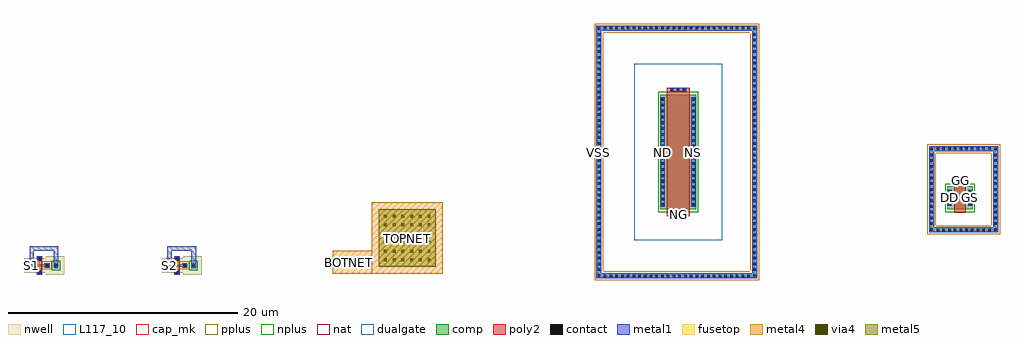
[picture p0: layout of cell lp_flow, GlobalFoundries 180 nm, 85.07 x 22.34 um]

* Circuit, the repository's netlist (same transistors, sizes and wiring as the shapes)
* NGSPICE file created from lp_flow.ext - technology: gf180mcuD

.subckt cap_mim m4_n120_n120# m4_0_0#
X0 m4_0_0# m4_n120_n120# cap_mim_2f0_m4m5_noshield c_width=5u c_length=5u
.ends

.subckt nfet_06v0_nvt__2 a_22_n122# a_422_0# a_n92_0# VSUBS
X0 a_422_0# a_22_n122# a_n92_0# VSUBS nfet_06v0_nvt ad=5.7p pd=21.14u as=5.7p ps=21.14u w=10u l=2u
.ends

.subckt nfet__3 a_238_0# a_38_n60# a_n84_0# VSUBS
X0 a_238_0# a_38_n60# a_n84_0# VSUBS nfet_03v3 ad=1.22p pd=5.22u as=1.22p ps=5.22u w=2u l=1u
.ends

.subckt pfet__0 w_n180_n104# a_n92_n16# a_138_0# a_38_n136#
X0 a_138_0# a_38_n136# a_n92_n16# w_n180_n104# pfet_03v3 ad=0.2166p pd=2.06u as=0.2166p ps=2.06u w=0.22u l=0.5u
.ends

.subckt lp_flow S1 D1 G1 S2 D2 G2 ND NS NG VSS DD GS GG BOTNET TOPNET
Xcap_mim_0 BOTNET TOPNET cap_mim
Xnfet_06v0_nvt__2_0 NG NS ND VSS nfet_06v0_nvt__2
Xnfet__3_0 GS GG DD VSS nfet__3
Xpfet__0_0 S2 S2 D2 G2 pfet__0
Xpfet__0_1 S1 S1 D1 G1 pfet__0
.ends

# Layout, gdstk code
import gdstk
lib = gdstk.Library(unit=1e-6, precision=1e-09)
def R(c, l, rs):  # rectangles x0, y0, x1, y1
    for r in rs: c.add(gdstk.rectangle(r[:2], r[2:], *l))
def A(c, l, x, y, w, h, nx, ny, dx, dy):  # array of equal rectangles
    R(c, l, [(x+i*dx, y+j*dy, x+i*dx+w, y+j*dy+h) for i in range(nx) for j in range(ny)])
nat = (5, 0)
nwell = (21, 0)
comp = (22, 0)
poly2 = (30, 0)
pplus = (31, 0)
nplus = (32, 0)
contact = (33, 0)
metal1 = (34, 0)
via4 = (41, 0)
metal4 = (46, 0)
dualgate = (55, 0)
fusetop = (75, 0)
metal5 = (81, 0)
cap_mk = (117, 5)
L117_10 = (117, 10)

pfet__0 = lib.new_cell('pfet__0')
R(pfet__0, nwell, [(-0.9,-0.52,1.78,0.74)])
R(pfet__0, comp, [(-0.46,-0.08,0,0.3), (0.88,-0.08,1.34,0.3), (0,0,0.88,0.22)])
R(pfet__0, poly2, [(0.19,-0.68,0.69,-0.3), (0.19,-0.3,0.69,0.52), (0.19,0.52,0.69,0.9)])
R(pfet__0, pplus, [(-0.63,-0.24,1.51,0.46)])
R(pfet__0, contact, [(0.33,-0.6,0.55,-0.38), (-0.34,0,-0.12,0.22), (1,0,1.22,0.22), (0.33,0.6,0.55,0.82)])
R(pfet__0, metal1, [(0.25,-0.685,0.63,-0.295), (-0.42,-0.085,-0.04,0.305), (0.92,-0.085,1.3,0.305), (0.25,0.515,0.63,0.905)])

cap_mim = lib.new_cell('cap_mim')
A(cap_mim, via4, 0.47, 0.47, 0.26, 0.26, 6, 6, 0.76, 0.76)
R(cap_mim, metal4, [(-0.6,-0.6,5.6,5.6)])
R(cap_mim, fusetop, [(0,0,5,5)])
R(cap_mim, metal5, [(0,0,5,5)])
R(cap_mim, cap_mk, [(-0.6,-0.6,5.6,5.6)])
R(cap_mim, L117_10, [(0,0,5,0.1)])

nfet_06v0_nvt__2 = lib.new_cell('nfet_06v0_nvt__2')
R(nfet_06v0_nvt__2, nat, [(-2.73,-2.71,4.95,12.71)])
R(nfet_06v0_nvt__2, comp, [(-0.46,0,0,10), (0,0,2.22,10), (2.22,0,2.68,10)])
R(nfet_06v0_nvt__2, poly2, [(0.11,-0.61,2.11,-0.23), (0.11,-0.23,2.11,10.23), (0.11,10.23,2.11,10.61)])
R(nfet_06v0_nvt__2, nplus, [(-0.63,-0.24,2.85,10.24)])
A(nfet_06v0_nvt__2, contact, 0.49, -0.53, 0.22, 0.22, 3, 2, 0.51, 10.84)
A(nfet_06v0_nvt__2, contact, -0.34, 0.3, 0.22, 0.22, 1, 19, 0, 0.51)
A(nfet_06v0_nvt__2, contact, 2.34, 0.3, 0.22, 0.22, 1, 19, 0, 0.51)
R(nfet_06v0_nvt__2, metal1, [(0.41,-0.61,1.81,-0.23), (-0.42,0.22,-0.04,9.78), (2.26,0.22,2.64,9.78), (0.41,10.23,1.81,10.61)])
R(nfet_06v0_nvt__2, dualgate, [(-2.73,-2.71,4.95,12.71)])

nfet__3 = lib.new_cell('nfet__3')
R(nfet__3, comp, [(-0.42,0,0,2), (0,0,1.38,2), (1.38,0,1.8,2)])
R(nfet__3, poly2, [(0.19,-0.3,1.19,2.3), (0.19,2.3,1.19,2.66)])
R(nfet__3, nplus, [(-0.59,-0.24,1.97,2.24)])
A(nfet__3, contact, -0.32, 0.38, 0.22, 0.22, 1, 3, 0, 0.51)
A(nfet__3, contact, 1.48, 0.38, 0.22, 0.22, 1, 3, 0, 0.51)
R(nfet__3, contact, [(0.58,2.37,0.8,2.59)])
R(nfet__3, metal1, [(-0.4,0.3,-0.02,1.7), (1.4,0.3,1.78,1.7), (0.5,2.285,0.88,2.675)])

lp_flow = lib.new_cell('lp_flow')
R(lp_flow, nwell, [(1,-0.685,2.6,0.905), (13,-0.685,14.6,0.905)])
R(lp_flow, comp, [(49,-1,49.42,21), (49.42,-1,62.58,-0.58), (62.58,-1,63,21), (1.68,-0.14,2.1,0.36), (13.68,-0.14,14.1,0.36), (78,3,78.42,10.5), (78.42,3,83.58,3.42), (83.58,3,84,10.5), (78.42,10.08,83.58,10.5), (49.42,20.58,62.58,21)])
R(lp_flow, pplus, [(48.83,-1.17,63.17,-0.41), (48.83,-1.17,49.59,21.17), (62.41,-1.17,63.17,21.17), (77.83,2.83,84.17,3.59), (77.83,2.83,78.59,10.67), (83.41,2.83,84.17,10.67), (77.83,9.91,84.17,10.67), (48.83,20.41,63.17,21.17)])
R(lp_flow, nplus, [(1.52,-0.3,2.26,0.52), (13.52,-0.3,14.26,0.52)])
A(lp_flow, contact, 49.64, -0.9, 0.22, 0.22, 26, 2, 0.5, 21.58)
A(lp_flow, contact, 49.1, -0.86, 0.22, 0.22, 1, 44, 0, 0.5)
A(lp_flow, contact, 62.68, -0.86, 0.22, 0.22, 1, 44, 0, 0.5)
A(lp_flow, contact, 78.64, 3.1, 0.22, 0.22, 10, 2, 0.5, 7.08)
A(lp_flow, contact, 78.1, 3.14, 0.22, 0.22, 1, 15, 0, 0.5)
A(lp_flow, contact, 83.68, 3.14, 0.22, 0.22, 1, 15, 0, 0.5)
R(lp_flow, contact, [(1.78,0,2,0.22), (13.78,0,14,0.22)])
R(lp_flow, metal1, [(49,-1,49.42,21), (49.42,-1,62.58,-0.58), (62.58,-1,63,21), (1.68,-0.14,2.1,0.36), (1.68,-0.14,2.1,1.8), (13.68,-0.14,14.1,0.36), (13.68,-0.14,14.1,1.8), (-0.42,-0.085,-0.04,1.8), (11.58,-0.085,11.96,1.8), (-0.42,1.4,2.1,1.8), (11.58,1.4,14.1,1.8), (78,3,78.42,10.5), (78.42,3,83.58,3.42), (83.58,3,84,10.5), (78.42,10.08,83.58,10.5), (49.42,20.58,62.58,21)])
R(lp_flow, metal4, [(26,-0.6,29.4,1.4)])
lp_flow.add(gdstk.Reference(pfet__0, (0,0)))
lp_flow.add(gdstk.Reference(pfet__0, (12,0)))
lp_flow.add(gdstk.Reference(cap_mim, (30,0)))
lp_flow.add(gdstk.Reference(nfet_06v0_nvt__2, (55,5)))
lp_flow.add(gdstk.Reference(nfet__3, (80,5)))
lp_flow.add(gdstk.Label('S1', (-0.23,0.11), layer=34, texttype=10))
lp_flow.add(gdstk.Label('D1', (1.11,0.11), layer=34, texttype=10))
lp_flow.add(gdstk.Label('G1', (0.44,-0.49), layer=34, texttype=10))
lp_flow.add(gdstk.Label('S2', (11.77,0.11), layer=34, texttype=10))
lp_flow.add(gdstk.Label('D2', (13.11,0.11), layer=34, texttype=10))
lp_flow.add(gdstk.Label('G2', (12.44,-0.49), layer=34, texttype=10))
lp_flow.add(gdstk.Label('ND', (54.77,10), layer=34, texttype=10))
lp_flow.add(gdstk.Label('NS', (57.45,10), layer=34, texttype=10))
lp_flow.add(gdstk.Label('NG', (56.11,4.58), layer=34, texttype=10))
lp_flow.add(gdstk.Label('VSS', (49.21,10), layer=34, texttype=10))
lp_flow.add(gdstk.Label('DD', (79.79,6), layer=34, texttype=10))
lp_flow.add(gdstk.Label('GS', (81.59,6), layer=34, texttype=10))
lp_flow.add(gdstk.Label('GG', (80.69,7.48), layer=34, texttype=10))
lp_flow.add(gdstk.Label('VSS', (78.21,6.75), layer=34, texttype=10))
lp_flow.add(gdstk.Label('BOTNET', (27.4,0.4), layer=46, texttype=10))
lp_flow.add(gdstk.Label('TOPNET', (32.5,2.5), layer=81, texttype=10))

lib.write_gds('lp_flow.gds')
